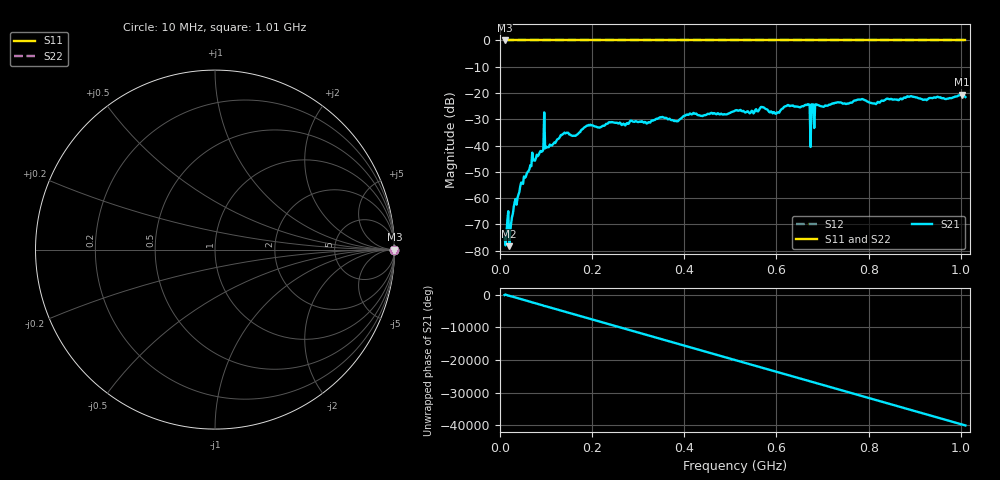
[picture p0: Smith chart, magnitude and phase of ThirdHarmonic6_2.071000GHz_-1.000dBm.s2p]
! 8/17/2025 12:48:36 AM
! C:\ANRITSUVNA\TEMP\TEMP.S2P
! CHANNEL.1
! TR.MEASUREMENT
! RAW.DATA
! RF.CORRECTION.OFF
! AVERAGING.OFF
! IF.BANDWIDTH: 5KHZ
! SWEEPTYPE:  FREQ.SWEEP(Linear)
! Reference Plane Port Info
! PORT:  PORT1  PORT2
! DISTANCE:  0  m  0  m
! TIME:  0  s  0  s
! PHASE.OFFSET:  0  deg.  0  deg.
! LOSS:  0  dB  0  dB
! REF.LOSS:  0  dB  0  dB
! REF.FREQ:  0  Hz  0  Hz
! Power Info
! POWER:  -20  dBm  -20  dBm
! EFF.POWER:  -20  dBm  -20  dBm
! SOURCE.ATTEN:  0  dB  0  dB
! TEST.ATTEN:  0  dB  0  dB
# GHZ S RI R 50.0
! FREQ.GHZ  S11RE  S11IM  S21RE  S21IM  S12RE  S12IM  S22RE  S22IM
!; PortSelection: Port_12
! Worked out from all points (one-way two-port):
!   501 points, 10 MHz to 1.01 GHz, reference 50 ohm
!   highest |S21| = -20.58 dB at 1.002 GHz (marker M1); lowest = -78.3 dB at 20 MHz (marker M2)
!   lowest |S11| = 0.0 dB at 10 MHz (marker M3)
!   |S11| at or under -10 dB: nowhere
!   |S22| runs from 0.0 to 0.0 dB; largest |S21 - S12| = 1.1
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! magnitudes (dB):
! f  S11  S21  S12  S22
! 10 MHz  0.0  -75.0  0.0  0.0
! 20 MHz  0.0  -78.3  0.0  0.0
! 24 MHz  0.0  -69.8  0.0  0.0
! 30 MHz  0.0  -63.1  0.0  0.0
! 48 MHz  0.0  -54.3  0.0  0.0
! 90 MHz  0.0  -42.3  0.0  0.0
! 92 MHz  0.0  -42.2  0.0  0.0
! 100 MHz  0.0  -40.4  0.0  0.0
! 102 MHz  0.0  -40.7  0.0  0.0
! 136 MHz  0.0  -35.7  0.0  0.0
! 178 MHz  0.0  -33.9  0.0  0.0
! 344 MHz  0.0  -29.6  0.0  0.0
! 510 MHz  0.0  -26.7  0.0  0.0
! 602 MHz  0.0  -27.4  0.0  0.0
! 668 MHz  0.0  -24.3  0.0  0.0
! 670 MHz  0.0  -24.3  0.0  0.0
! 678 MHz  0.0  -24.4  0.0  0.0
! 680 MHz  0.0  -24.4  0.0  0.0
! 688 MHz  0.0  -24.4  0.0  0.0
! 844 MHz  0.0  -22.3  0.0  0.0
! 1.002 GHz  0.0  -20.6  0.0  0.0
! 1.01 GHz  0.0  -21.5  0.0  0.0
